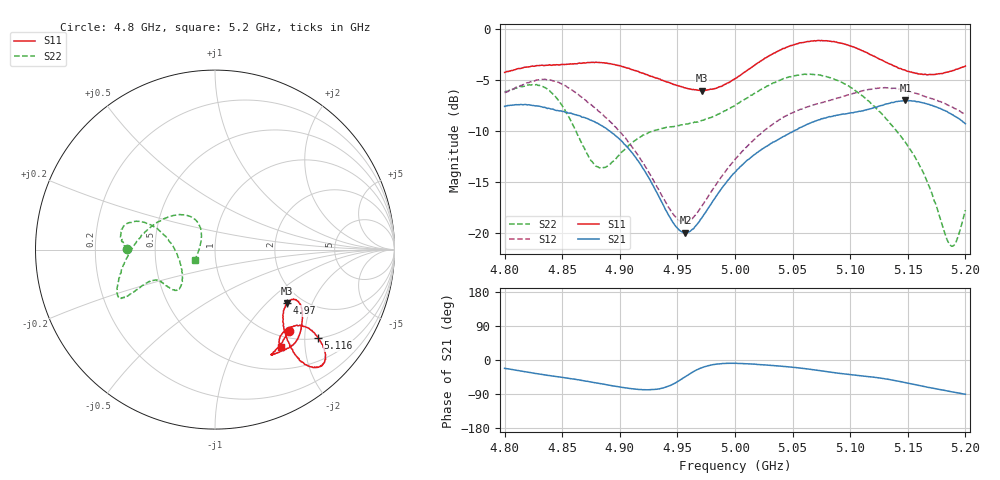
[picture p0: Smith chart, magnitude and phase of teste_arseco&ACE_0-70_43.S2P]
! Network Analyzer HP8722D
! Hewlett-Packard
! Data name: Linha & Wilkinson
! Saver's name: Rodrigo Anjos
! Comments: Teste da utilização de aquisição
! continua pelo VNA HP8722D
! Time and date: 8/5/2025 13:07
!  Frequency  S11  S21  S12  S22
# HZ  S  MA R 50
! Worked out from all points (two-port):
!   401 points, 4.8 GHz to 5.2 GHz, reference 50 ohm
!   highest |S21| = -7.02 dB at 5.148 GHz (marker M1); lowest = -20.0 dB at 4.957 GHz (marker M2)
!   |S21| within 3 dB of the highest: start of sweep to 4.891 GHz; 5.051 GHz to end of sweep
!   lowest |S11| = -6.0 dB at 4.971 GHz (marker M3), VSWR 2.99, Z = 83.9 - j66.3 ohm
!   |S11| at or under -10 dB: nowhere
!   |S22| runs from -21.3 to -4.4 dB; largest |S21 - S12| = 0.95
!   S11 on the Smith chart (normalised r, x): 4.8 GHz: 1.13, -1.64; 4.97 GHz: 1.68, -1.33; 5.116 GHz: 1.02, -2.33; 5.2 GHz: 0.82, -1.57
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4.8e9  0.6124 -47.8  0.417 -22.1  0.4874 -175.9  0.4922 179.8
4.821e9  0.6525 -58.6  0.4249 -32.6  0.5455 176.5  0.5318 171.1
4.837e9  0.6644 -61.6  0.4068 -40.5  0.563 167.3  0.5079 163.1
4.851e9  0.6702 -59.9  0.394 -46.5  0.5322 158.4  0.4123 159.0
4.867e9  0.6792 -54.8  0.3694 -53.9  0.4622 150.7  0.2747 166.8
4.886e9  0.6831 -48.5  0.3302 -63.8  0.3761 144.0  0.2089 -158.2
4.911e9  0.6317 -39.8  0.2455 -75.9  0.2619 137.4  0.2774 -133.1
4.934e9  0.5694 -33.0  0.15 -76.3  0.1618 141.0  0.3211 -135.6
4.957e9  0.5138 -32.8  0.09977 -43.4  0.1124 174.7  0.3407 -145.4
4.97e9  0.4997 -36.4  0.1159 -21.7  0.1318 -163.6  0.3529 -150.0
4.971e9  0.4985 -36.6  0.1175 -20.4  0.1346 -162.3  0.3553 -150.5
5e9  0.5704 -48.2  0.1983 -8.8  0.2288 -146.9  0.422 -154.0
5.038e9  0.7828 -52.4  0.2876 -16.0  0.3574 -148.0  0.558 -152.1
5.067e9  0.8735 -48.4  0.3488 -25.2  0.4225 -154.6  0.5986 -155.1
5.092e9  0.8528 -43.9  0.3803 -35.7  0.463 -161.5  0.5497 -164.7
5.116e9  0.7561 -40.5  0.4032 -44.0  0.5048 -172.1  0.4431 175.3
5.134e9  0.6748 -40.2  0.4321 -51.5  0.5135 177.1  0.3466 153.0
5.148e9  0.6272 -42.6  0.4458 -59.9  0.4984 169.2  0.2769 135.1
5.165e9  0.5998 -48.1  0.4314 -70.5  0.4656 161.3  0.1879 122.7
5.186e9  0.6177 -54.5  0.3871 -82.5  0.42 154.0  0.08807 154.7
5.191e9  0.6308 -55.4  0.3727 -85.3  0.4064 152.4  0.08764 177.5
5.2e9  0.6585 -55.8  0.3425 -90.5  0.3783 149.3  0.1289 -152.1
